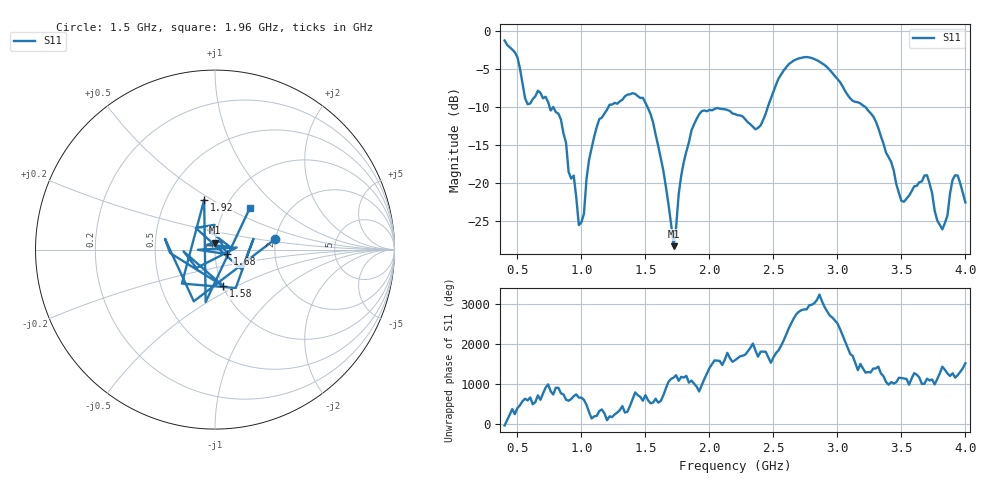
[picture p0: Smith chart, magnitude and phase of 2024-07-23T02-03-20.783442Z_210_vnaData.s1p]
!Created with skrf (http://scikit-rf.org).
# Hz S RI R 50.0
!freq ReS11 ImS11
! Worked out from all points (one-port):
!   181 points, 400 MHz to 4 GHz, reference 50 ohm
!   lowest |S11| = -28.3 dB at 1.72 GHz (marker M1), VSWR 1.08, Z = 50 + j3.86 ohm
!   |S11| at or under -10 dB: 780.3 MHz to 1.211 GHz (430.4 MHz wide, 43.2 % of centre); 1.516 GHz to 2.456 GHz (940.1 MHz wide, 47.3 % of centre); 3.219 GHz to end of sweep (the widest 3 of 4)
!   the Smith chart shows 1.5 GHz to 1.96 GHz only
!   S11 on the Smith chart (normalised r, x): 1.5 GHz: 1.98, +0.25; 1.58 GHz: 1.00, -0.43; 1.68 GHz: 1.15, -0.06; 1.92 GHz: 0.77, +0.46; 1.96 GHz: 1.29, +0.65
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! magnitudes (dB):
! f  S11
! 400 MHz  -1.3
! 500 MHz  -3.5
! 580 MHz  -9.6
! 720 MHz  -8.6
! 860 MHz  -13.5
! 900 MHz  -18.5
! 940 MHz  -19.0
! 980 MHz  -25.5
! 1.14 GHz  -11.6
! 1.3 GHz  -9.3
! 1.5 GHz  -9.4
! 1.58 GHz  -13.6
! 1.68 GHz  -22.7
! 1.72 GHz  -28.3
! 1.76 GHz  -21.4
! 1.92 GHz  -11.0
! 1.96 GHz  -10.4
! 2.2 GHz  -10.9
! 2.38 GHz  -12.7
! 2.66 GHz  -3.9
! 3.1 GHz  -8.9
! 3.28 GHz  -11.2
! 3.5 GHz  -22.3
! 3.56 GHz  -21.6
! 3.7 GHz  -19.0
! 3.82 GHz  -26.1
! 3.92 GHz  -19.0
! 4 GHz  -22.5
